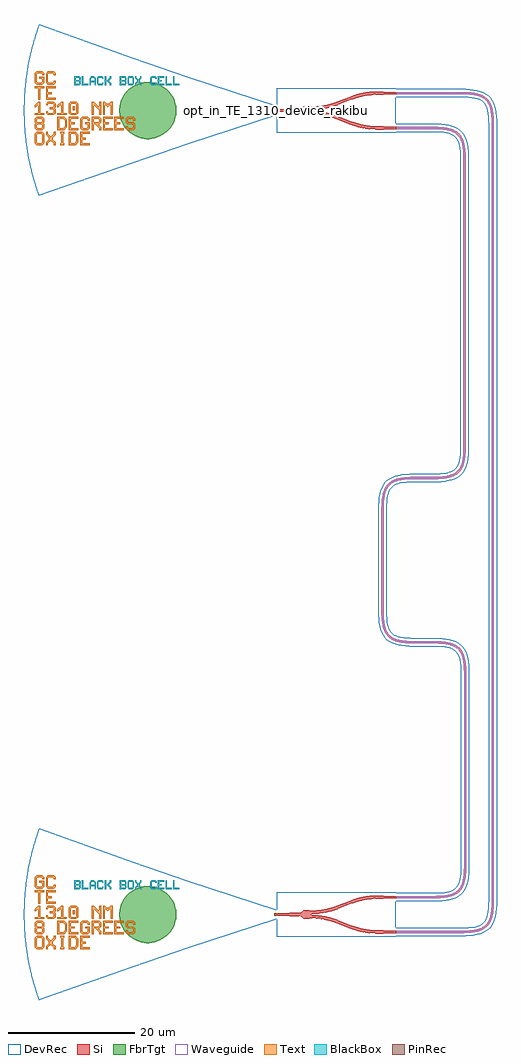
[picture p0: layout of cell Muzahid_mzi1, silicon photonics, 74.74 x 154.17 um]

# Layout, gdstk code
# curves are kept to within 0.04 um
import gdstk
lib = gdstk.Library(unit=1e-6, precision=1e-09)
def R(c, l, rs):  # rectangles x0, y0, x1, y1
    for r in rs: c.add(gdstk.rectangle(r[:2], r[2:], *l))
def P(c, l, *ps):  # polygons
    for p in ps: c.add(gdstk.Polygon(p, *l))
Si = (1, 0)
PinRec = (1, 10)
Waveguide = (1, 99)
Text = (10, 0)
DevRec = (68, 0)
FbrTgt = (81, 0)
BlackBox = (998, 0)

waveguide = lib.new_cell('Waveguide')
P(waveguide, Si, [(58.769,10.575),(58.769,10.925),(69.496,10.93),(70.634,10.997),(71.565,11.157),(72.076,11.32),(72.506,11.534),(72.863,11.799),(73.157,12.123),(73.448,12.626),(73.624,13.117),(73.838,14.358),(73.891,15.75),(73.891,138.25),(73.819,139.818),(73.693,140.608),(73.541,141.14),(73.341,141.59),(73.089,141.965),(72.78,142.274),(72.405,142.526),(71.955,142.726),(71.423,142.878),(70.458,143.022),(69.495,143.071),(58.769,143.075),(58.769,143.425),(69.287,143.424),(70.49,143.37),(71.499,143.22),(72.205,143.005),(72.901,142.623),(73.359,142.187),(73.709,141.64),(73.999,140.835),(74.147,140.032),(74.231,138.896),(74.241,15.75),(74.186,14.326),(74.068,13.473),(73.918,12.88),(73.71,12.361),(73.439,11.915),(73.099,11.539),(72.688,11.234),(72.206,10.996),(71.651,10.817),(70.672,10.649),(69.502,10.58)])
P(waveguide, Waveguide, [(58.769,10.575),(58.769,10.925),(69.496,10.93),(70.634,10.997),(71.565,11.157),(72.076,11.32),(72.506,11.534),(72.863,11.799),(73.157,12.123),(73.448,12.626),(73.624,13.117),(73.838,14.358),(73.891,15.75),(73.891,138.25),(73.819,139.818),(73.693,140.608),(73.541,141.14),(73.341,141.59),(73.089,141.965),(72.78,142.274),(72.405,142.526),(71.955,142.726),(71.423,142.878),(70.458,143.022),(69.495,143.071),(58.769,143.075),(58.769,143.425),(69.287,143.424),(70.49,143.37),(71.499,143.22),(72.205,143.005),(72.901,142.623),(73.359,142.187),(73.709,141.64),(73.999,140.835),(74.147,140.032),(74.231,138.896),(74.241,15.75),(74.186,14.326),(74.068,13.473),(73.918,12.88),(73.71,12.361),(73.439,11.915),(73.099,11.539),(72.688,11.234),(72.206,10.996),(71.651,10.817),(70.672,10.649),(69.502,10.58)])
P(waveguide, DevRec, [(58.769,10.075),(58.769,11.425),(69.718,11.436),(70.822,11.524),(71.665,11.705),(72.264,11.972),(72.491,12.136),(72.845,12.553),(73.112,13.152),(73.214,13.542),(73.349,14.514),(73.391,15.75),(73.391,138.25),(73.292,140.006),(73.111,140.849),(72.988,141.177),(72.68,141.675),(72.49,141.865),(71.992,142.173),(71.274,142.398),(70.302,142.533),(69.065,142.575),(58.769,142.575),(58.769,143.925),(69.067,143.925),(70.41,143.879),(71.56,143.718),(72.544,143.405),(73.366,142.891),(73.706,142.551),(73.99,142.162),(74.399,141.255),(74.63,140.192),(74.73,138.95),(74.741,15.75),(74.695,14.406),(74.534,13.256),(74.4,12.746),(73.991,11.839),(73.367,11.11),(72.978,10.826),(72.071,10.417),(71.008,10.186),(69.766,10.086)])
waveguide.add(gdstk.FlexPath([(58.779,143.25),(58.759,143.25)], 0.35, ends="flush", simple_path=True, layer=1, datatype=10))  # PinRec
waveguide.add(gdstk.FlexPath([(58.779,10.75),(58.759,10.75)], 0.35, ends="flush", simple_path=True, layer=1, datatype=10))  # PinRec
waveguide.add(gdstk.Label('opt1', (58.769,143.25), layer=1, texttype=10))
waveguide.add(gdstk.Label('opt2', (58.769,10.75), layer=1, texttype=10))
waveguide.add(gdstk.Label('Lumerical_INTERCONNECT_library=Design kits/EBeam', (58.769,143.18), layer=68, texttype=0))
waveguide.add(gdstk.Label('Component=ebeam_wg_integral_1310', (58.769,143.32), layer=68, texttype=0))
waveguide.add(gdstk.Label('cellName=Waveguide', (58.769,143.39), layer=68, texttype=0))
waveguide.add(gdstk.Label('Spice_param:wg_length=0.000160001 wg_width=3.5e-07 points="[[58.769,143.25],[74.066,143.25],[74.066,10.75],[58.769,10.75]]" radius=5e-06', (58.769,143.25), layer=68, texttype=0))
waveguide.add(gdstk.Label('Length=160.001 (microns)', (58.769,142.83), layer=68, texttype=0))
waveguide.add(gdstk.Label('waveguide_type=Strip TE 1310 nm, w=350 nm', (58.769,143.11), layer=68, texttype=0))

text = lib.new_cell('TEXT')
P(text, BlackBox, [(0,0),(0,1.4),(0.8,1.4),(1,1.2),(0.2,1.2),(0.2,0.8),(0.7,0.8),(0.8,0.9),(0.8,1.1),(0.7,1.2),(1,1.2),(1,0.8),(0.9,0.7),(1,0.6),(0.2,0.6),(0.2,0.2),(0.7,0.2),(0.8,0.3),(0.8,0.5),(0.7,0.6),(1,0.6),(1,0.2),(0.8,0)],
  [(1.2,0),(1.2,1.4),(1.4,1.4),(1.4,0.2),(2.2,0.2),(2.2,0)],
  [(2.4,0),(2.4,1.1),(2.7,1.4),(3.1,1.4),(3.3,1.2),(2.8,1.2),(2.6,1),(2.6,0.7),(3.2,0.7),(3.2,1),(3,1.2),(3.3,1.2),(3.4,1.1),(3.4,0),(3.2,0),(3.2,0.5),(2.6,0.5),(2.6,0)],
  [(3.8,0),(3.6,0.2),(3.6,1.2),(3.8,1.4),(4.4,1.4),(4.6,1.2),(4.6,1),(4.4,1),(4.4,1.1),(4.3,1.2),(3.9,1.2),(3.8,1.1),(3.8,0.3),(3.9,0.2),(4.3,0.2),(4.4,0.3),(4.4,0.4),(4.6,0.4),(4.6,0.2),(4.4,0)],
  [(4.8,0),(4.8,1.4),(5,1.4),(5,0.8),(5.2,0.8),(5.6,1.2),(5.6,1.4),(5.8,1.4),(5.8,1.1),(5.4,0.7),(5.8,0.3),(5.8,0),(5.6,0),(5.6,0.2),(5.2,0.6),(5,0.6),(5,0)],
  [(7.2,0),(7.2,1.4),(8,1.4),(8.2,1.2),(7.4,1.2),(7.4,0.8),(7.9,0.8),(8,0.9),(8,1.1),(7.9,1.2),(8.2,1.2),(8.2,0.8),(8.1,0.7),(8.2,0.6),(7.4,0.6),(7.4,0.2),(7.9,0.2),(8,0.3),(8,0.5),(7.9,0.6),(8.2,0.6),(8.2,0.2),(8,0)],
  [(8.6,0),(8.4,0.2),(8.4,1.2),(8.6,1.4),(9.2,1.4),(9.4,1.2),(9.4,0.7),(9.2,0.7),(9.2,1.1),(9.1,1.2),(8.7,1.2),(8.6,1.1),(8.6,0.3),(8.7,0.2),(9.1,0.2),(9.2,0.3),(9.2,0.7),(9.4,0.7),(9.4,0.2),(9.2,0)],
  [(9.6,0),(9.6,0.3),(9.9,0.6),(9.9,0.8),(9.6,1.1),(9.6,1.4),(9.8,1.4),(9.8,1.2),(10.1,0.9),(10.4,1.2),(10.4,1.4),(10.6,1.4),(10.6,1.1),(10.3,0.8),(10.3,0.6),(10.6,0.3),(10.6,0),(10.4,0),(10.4,0.2),(10.1,0.5),(9.8,0.2),(9.8,0)],
  [(12.2,0),(12,0.2),(12,1.2),(12.2,1.4),(12.8,1.4),(13,1.2),(13,1),(12.8,1),(12.8,1.1),(12.7,1.2),(12.3,1.2),(12.2,1.1),(12.2,0.3),(12.3,0.2),(12.7,0.2),(12.8,0.3),(12.8,0.4),(13,0.4),(13,0.2),(12.8,0)],
  [(13.2,0),(13.2,1.4),(14.2,1.4),(14.2,1.2),(13.4,1.2),(13.4,0.8),(13.8,0.8),(13.8,0.6),(13.4,0.6),(13.4,0.2),(14.2,0.2),(14.2,0)],
  [(14.4,0),(14.4,1.4),(14.6,1.4),(14.6,0.2),(15.4,0.2),(15.4,0)],
  [(15.6,0),(15.6,1.4),(15.8,1.4),(15.8,0.2),(16.6,0.2),(16.6,0)])

gc_te_1310_8degoxide_bb = lib.new_cell('GC_TE_1310_8degOxide_BB')
R(gc_te_1310_8degoxide_bb, Si, [(-0.4,-0.175,0,0.175)])
R(gc_te_1310_8degoxide_bb, Text, [(-32.27,0.06,-31.97,0.66)])
P(gc_te_1310_8degoxide_bb, Text, [(-37.67,1.71),(-37.67,3.51),(-38.27,3.51),(-38.27,3.81),(-36.77,3.81),(-36.77,3.51),(-37.37,3.51),(-37.37,1.71)],
  [(-37.97,-5.49),(-38.27,-5.19),(-38.27,-3.69),(-37.97,-3.39),(-37.07,-3.39),(-36.77,-3.69),(-36.77,-4.44),(-37.07,-4.44),(-37.07,-3.84),(-37.22,-3.69),(-37.82,-3.69),(-37.97,-3.84),(-37.97,-5.04),(-37.82,-5.19),(-37.22,-5.19),(-37.07,-5.04),(-37.07,-4.44),(-36.77,-4.44),(-36.77,-5.19),(-37.07,-5.49)],
  [(-31.07,-5.49),(-31.07,-3.39),(-29.57,-3.39),(-29.57,-3.69),(-30.77,-3.69),(-30.77,-4.29),(-30.17,-4.29),(-30.17,-4.59),(-30.77,-4.59),(-30.77,-5.19),(-29.57,-5.19),(-29.57,-5.49)],
  [(-32.87,-3.09),(-32.87,-0.99),(-31.37,-0.99),(-31.37,-1.29),(-32.57,-1.29),(-32.57,-1.89),(-31.97,-1.89),(-31.97,-2.19),(-32.57,-2.19),(-32.57,-2.79),(-31.37,-2.79),(-31.37,-3.09)],
  [(-27.47,-3.09),(-27.47,-0.99),(-25.97,-0.99),(-25.97,-1.29),(-27.17,-1.29),(-27.17,-1.89),(-26.57,-1.89),(-26.57,-2.19),(-27.17,-2.19),(-27.17,-2.79),(-25.97,-2.79),(-25.97,-3.09)],
  [(-25.67,-3.09),(-25.67,-0.99),(-24.17,-0.99),(-24.17,-1.29),(-25.37,-1.29),(-25.37,-1.89),(-24.77,-1.89),(-24.77,-2.19),(-25.37,-2.19),(-25.37,-2.79),(-24.17,-2.79),(-24.17,-3.09)],
  [(-36.47,1.71),(-36.47,3.81),(-34.97,3.81),(-34.97,3.51),(-36.17,3.51),(-36.17,2.91),(-35.57,2.91),(-35.57,2.61),(-36.17,2.61),(-36.17,2.01),(-34.97,2.01),(-34.97,1.71)],
  [(-27.47,-0.69),(-27.47,1.41),(-27.17,1.41),(-26.87,1.11),(-26.57,1.11),(-26.27,1.41),(-25.97,1.41),(-25.97,-0.69),(-26.27,-0.69),(-26.27,0.81),(-26.42,0.81),(-26.72,0.51),(-27.02,0.81),(-27.17,0.81),(-27.17,-0.69)],
  [(-29.27,-0.69),(-29.27,1.41),(-28.97,1.41),(-28.22,0.66),(-28.07,0.66),(-28.07,1.41),(-27.77,1.41),(-27.77,-0.69),(-28.07,-0.69),(-28.07,0.06),(-28.82,0.81),(-28.97,0.81),(-28.97,-0.69)],
  [(-34.22,-5.49),(-34.22,-5.19),(-34.07,-5.19),(-34.07,-3.69),(-34.22,-3.69),(-34.22,-3.39),(-33.62,-3.39),(-33.62,-3.69),(-33.77,-3.69),(-33.77,-5.19),(-33.62,-5.19),(-33.62,-5.49)],
  [(-36.17,-0.69),(-36.47,-0.39),(-36.47,-0.09),(-36.17,-0.09),(-36.17,-0.24),(-36.02,-0.39),(-35.42,-0.39),(-35.27,-0.24),(-35.27,0.06),(-35.42,0.21),(-35.87,0.21),(-35.87,0.51),(-35.42,0.51),(-35.27,0.66),(-35.27,0.96),(-35.42,1.11),(-36.02,1.11),(-36.17,0.96),(-36.17,0.81),(-36.47,0.81),(-36.47,1.11),(-36.17,1.41),(-35.27,1.41),(-34.97,1.11),(-34.97,0.51),(-35.12,0.36),(-34.97,0.21),(-34.97,-0.39),(-35.27,-0.69)],
  [(-29.27,-3.09),(-29.27,-0.99),(-28.07,-0.99),(-27.77,-1.29),(-28.97,-1.29),(-28.97,-1.89),(-28.22,-1.89),(-28.07,-1.74),(-28.07,-1.44),(-28.22,-1.29),(-27.77,-1.29),(-27.77,-1.89),(-28.07,-2.19),(-28.07,-2.34),(-27.77,-2.64),(-27.77,-3.09),(-28.07,-3.09),(-28.07,-2.79),(-28.67,-2.19),(-28.97,-2.19),(-28.97,-3.09)],
  [(-30.77,-3.09),(-31.07,-2.79),(-31.07,-1.29),(-30.77,-0.99),(-29.87,-0.99),(-29.57,-1.29),(-29.57,-1.59),(-29.87,-1.59),(-29.87,-1.44),(-30.02,-1.29),(-30.62,-1.29),(-30.77,-1.44),(-30.77,-2.64),(-30.62,-2.79),(-30.02,-2.79),(-29.87,-2.64),(-29.87,-2.19),(-30.32,-2.19),(-30.32,-1.89),(-29.57,-1.89),(-29.57,-2.79),(-29.87,-3.09)],
  [(-37.97,4.11),(-38.27,4.41),(-38.27,5.91),(-37.97,6.21),(-37.07,6.21),(-36.77,5.91),(-36.77,5.61),(-37.07,5.61),(-37.07,5.76),(-37.22,5.91),(-37.82,5.91),(-37.97,5.76),(-37.97,4.56),(-37.82,4.41),(-37.22,4.41),(-37.07,4.56),(-37.07,5.01),(-37.52,5.01),(-37.52,5.31),(-36.77,5.31),(-36.77,4.41),(-37.07,4.11)],
  [(-32.57,-0.69),(-32.87,-0.39),(-32.87,1.11),(-32.57,1.41),(-31.67,1.41),(-31.37,1.11),(-32.42,1.11),(-32.57,0.96),(-32.57,-0.24),(-32.42,-0.39),(-31.82,-0.39),(-31.67,-0.24),(-31.67,0.96),(-31.82,1.11),(-31.37,1.11),(-31.37,-0.39),(-31.67,-0.69)],
  [(-32.87,-5.49),(-32.87,-3.39),(-31.82,-3.39),(-31.52,-3.69),(-32.57,-3.69),(-32.57,-5.19),(-31.97,-5.19),(-31.67,-4.89),(-31.67,-3.99),(-31.97,-3.69),(-31.52,-3.69),(-31.37,-3.84),(-31.37,-5.04),(-31.82,-5.49)],
  [(-34.67,-3.09),(-34.67,-0.99),(-33.62,-0.99),(-33.32,-1.29),(-34.37,-1.29),(-34.37,-2.79),(-33.77,-2.79),(-33.47,-2.49),(-33.47,-1.59),(-33.77,-1.29),(-33.32,-1.29),(-33.17,-1.44),(-33.17,-2.64),(-33.62,-3.09)],
  [(-23.57,-3.09),(-23.87,-2.79),(-23.87,-2.49),(-23.57,-2.49),(-23.57,-2.64),(-23.42,-2.79),(-22.82,-2.79),(-22.67,-2.64),(-22.67,-2.34),(-22.82,-2.19),(-23.57,-2.19),(-23.87,-1.89),(-23.87,-1.29),(-23.57,-0.99),(-22.67,-0.99),(-22.37,-1.29),(-22.37,-1.59),(-22.67,-1.59),(-22.67,-1.44),(-22.82,-1.29),(-23.42,-1.29),(-23.57,-1.44),(-23.57,-1.74),(-23.42,-1.89),(-22.67,-1.89),(-22.37,-2.19),(-22.37,-2.79),(-22.67,-3.09)],
  [(-37.97,-3.09),(-38.27,-2.79),(-38.27,-2.19),(-38.12,-2.04),(-38.27,-1.89),(-38.27,-1.29),(-37.97,-0.99),(-37.07,-0.99),(-36.77,-1.29),(-37.82,-1.29),(-37.97,-1.44),(-37.97,-1.74),(-37.82,-1.89),(-37.22,-1.89),(-37.07,-1.74),(-37.07,-1.44),(-37.22,-1.29),(-36.77,-1.29),(-36.77,-1.89),(-36.92,-2.04),(-36.77,-2.19),(-37.82,-2.19),(-37.97,-2.34),(-37.97,-2.64),(-37.82,-2.79),(-37.22,-2.79),(-37.07,-2.64),(-37.07,-2.34),(-37.22,-2.19),(-36.77,-2.19),(-36.77,-2.79),(-37.07,-3.09)],
  [(-38.27,-0.69),(-38.27,-0.39),(-37.67,-0.39),(-37.67,0.81),(-37.82,0.81),(-38.12,0.51),(-38.27,0.51),(-38.27,0.81),(-37.67,1.41),(-37.37,1.41),(-37.37,-0.39),(-36.77,-0.39),(-36.77,-0.69)],
  [(-34.67,-0.69),(-34.67,-0.39),(-34.07,-0.39),(-34.07,0.81),(-34.22,0.81),(-34.52,0.51),(-34.67,0.51),(-34.67,0.81),(-34.07,1.41),(-33.77,1.41),(-33.77,-0.39),(-33.17,-0.39),(-33.17,-0.69)],
  [(-36.47,-5.49),(-36.47,-5.04),(-36.02,-4.59),(-36.02,-4.29),(-36.47,-3.84),(-36.47,-3.39),(-36.17,-3.39),(-36.17,-3.69),(-35.72,-4.14),(-35.27,-3.69),(-35.27,-3.39),(-34.97,-3.39),(-34.97,-3.84),(-35.42,-4.29),(-35.42,-4.59),(-34.97,-5.04),(-34.97,-5.49),(-35.27,-5.49),(-35.27,-5.19),(-35.72,-4.74),(-36.17,-5.19),(-36.17,-5.49)],
  [(-36.17,4.11),(-36.47,4.41),(-36.47,5.91),(-36.17,6.21),(-35.27,6.21),(-34.97,5.91),(-34.97,5.61),(-35.27,5.61),(-35.27,5.76),(-35.42,5.91),(-36.02,5.91),(-36.17,5.76),(-36.17,4.56),(-36.02,4.41),(-35.42,4.41),(-35.27,4.56),(-35.27,4.71),(-34.97,4.71),(-34.97,4.41),(-35.27,4.11)])
P(gc_te_1310_8degoxide_bb, DevRec, [(-37.607,-13.5),(-38.627,-10.245),(-39.378,-6.832),(-39.647,-5.058),(-39.835,-3.274),(-39.969,0.224),(-39.812,3.541),(-39.331,7.097),(-38.557,10.505),(-37.546,13.669),(-22.8,8.353),(-14.109,5.36),(0,0.75),(0,-0.75),(-14.109,-5.36)])
P(gc_te_1310_8degoxide_bb, FbrTgt, [(-20.621,-4.5),(-21.495,-4.37),(-22.326,-4.073),(-23.084,-3.619),(-23.738,-3.026),(-24.264,-2.316),(-24.642,-1.518),(-24.857,-0.661),(-24.9,0.221),(-24.77,1.095),(-24.473,1.926),(-24.019,2.684),(-23.426,3.338),(-22.716,3.864),(-21.918,4.242),(-21.061,4.457),(-20.179,4.5),(-19.305,4.37),(-18.474,4.073),(-17.716,3.619),(-17.062,3.026),(-16.536,2.316),(-16.158,1.518),(-15.943,0.661),(-15.9,-0.221),(-16.03,-1.095),(-16.327,-1.926),(-16.781,-2.684),(-17.374,-3.338),(-18.084,-3.864),(-18.882,-4.242),(-19.739,-4.457)])
gc_te_1310_8degoxide_bb.add(gdstk.FlexPath([(-0.01,0),(0.01,0)], 0.35, ends="flush", simple_path=True, layer=1, datatype=10))  # PinRec
gc_te_1310_8degoxide_bb.add(gdstk.Reference(text, (-32,4)))
gc_te_1310_8degoxide_bb.add(gdstk.Label('opt1', (0,0), layer=1, texttype=10))
gc_te_1310_8degoxide_bb.add(gdstk.Label('Lumerical_INTERCONNECT_library=Design kits/ebeam', (-29,-7), layer=68, texttype=0))
gc_te_1310_8degoxide_bb.add(gdstk.Label('Component=GC_TE_1310_8degOxide_BB', (-28,-5), layer=68, texttype=0))

ebeam_y_1310 = lib.new_cell('ebeam_y_1310')
R(ebeam_y_1310, Si, [(6.5,-3,7.4,-2.5), (-7.4,-0.25,-6,0.25), (6.5,2.5,7.4,3)])
P(ebeam_y_1310, Si, [(6.458,-3),(6.237,-2.997),(6.237,-2.497),(6.5,-2.5),(6.5,-3)],
  [(5.033,-2.908),(3.59,-2.634),(2.265,-2.21),(2.445,-1.744),(3.731,-2.154),(5.033,-2.404)],
  [(6.233,-2.997),(5.033,-2.908),(5.033,-2.404),(6.237,-2.497)],
  [(2.265,-2.21),(0.055,-1.356),(0.235,-0.89),(2.445,-1.744)],
  [(-0.762,-1.076),(-2.334,-0.724),(-4,-0.6),(-4,-0.1),(-2.381,-0.212),(-0.762,-0.555)],
  [(0.055,-1.356),(-0.762,-1.076),(-0.762,-0.555),(0.235,-0.89)],
  [(6.237,2.497),(6.237,2.997),(6.5,3),(6.5,2.5)],
  [(2.445,1.744),(2.267,2.211),(3.59,2.634),(5.033,2.908),(5.033,2.404),(3.731,2.154)],
  [(5.033,2.404),(5.033,2.908),(6.237,2.997),(6.237,2.497)],
  [(0.235,0.89),(0.055,1.356),(2.265,2.21),(2.445,1.744)],
  [(-4,0.1),(-4,0.6),(-2.334,0.724),(-0.762,1.076),(-0.762,0.555),(-2.381,0.212)],
  [(-0.762,0.555),(-0.762,1.076),(0.055,1.356),(0.235,0.89)],
  [(-5.122,-0.662),(-5.442,-0.374),(-5.808,-0.255),(-6,-0.25),(-6,0.25),(-5.817,0.253),(-5.442,0.374),(-5.122,0.662)],
  [(-4.957,-0.703),(-5.122,-0.662),(-5.122,0.662),(-4.538,0.703),(-4,0.6),(-4,-0.6),(-4.509,-0.701)],
  [(-7.4,-0.25),(-9.4,-0.175),(-9.4,0.175),(-7.4,0.25)],
  [(7.4,2.5),(7.4,3),(9.4,2.925),(9.4,2.575)],
  [(7.4,-3),(7.4,-2.5),(9.4,-2.575),(9.4,-2.925)])
R(ebeam_y_1310, DevRec, [(-9.4,-3.5,9.4,3.5)])
ebeam_y_1310.add(gdstk.FlexPath([(9.35,2.75),(9.45,2.75)], 0.35, ends="flush", simple_path=True, layer=1, datatype=10))  # PinRec
ebeam_y_1310.add(gdstk.FlexPath([(9.35,-2.75),(9.45,-2.75)], 0.35, ends="flush", simple_path=True, layer=1, datatype=10))  # PinRec
ebeam_y_1310.add(gdstk.FlexPath([(-9.35,0),(-9.45,0)], 0.35, ends="flush", simple_path=True, layer=1, datatype=10))  # PinRec
ebeam_y_1310.add(gdstk.Label('Ref: Y Zhang, Opt. Express, 21/1, 2013, for 1550 nm\nWorks reasonably well at 1310 nm', (-9.25,-1), layer=10, texttype=0))
ebeam_y_1310.add(gdstk.Label('opt2', (9.4,2.75), layer=1, texttype=10))
ebeam_y_1310.add(gdstk.Label('opt3', (9.4,-2.75), layer=1, texttype=10))
ebeam_y_1310.add(gdstk.Label('opt1', (-9.4,0), layer=1, texttype=10))
ebeam_y_1310.add(gdstk.Label('Lumerical_INTERCONNECT_library=Design kits/ebeam', (-6.86,-2.19), layer=68, texttype=0))
ebeam_y_1310.add(gdstk.Label('Component=ebeam_y_1310', (-9,1.5), layer=68, texttype=0))

waveguide_2 = lib.new_cell('Waveguide$2')
P(waveguide_2, Si, [(58.769,16.075),(58.769,16.425),(65.532,16.443),(66.757,16.564),(67.709,16.82),(68.414,17.227),(68.723,17.536),(68.975,17.911),(69.175,18.361),(69.327,18.893),(69.497,20.225),(69.524,51.5),(69.452,53.068),(69.216,54.265),(68.855,55.035),(68.413,55.524),(67.823,55.882),(67.056,56.128),(66.266,56.254),(65.332,56.316),(60.411,56.365),(59.215,56.531),(58.259,56.857),(57.813,57.128),(57.437,57.468),(57.132,57.879),(56.947,58.234),(56.755,58.771),(56.618,59.383),(56.483,60.855),(56.484,78.096),(56.648,79.728),(56.798,80.321),(57.006,80.84),(57.356,81.387),(57.814,81.823),(58.383,82.152),(59.216,82.42),(60.044,82.552),(61.004,82.616),(65.82,82.665),(66.82,82.793),(67.618,83.02),(68.323,83.427),(68.765,83.916),(69.126,84.686),(69.342,85.713),(69.433,87.45),(69.433,132.75),(69.393,133.962),(69.265,134.962),(68.989,135.875),(68.559,136.547),(67.947,137.026),(67.106,137.344),(66.345,137.484),(65.241,137.566),(58.769,137.575),(58.769,137.925),(65.653,137.898),(66.56,137.808),(67.478,137.602),(68.115,137.332),(68.64,136.962),(69.124,136.372),(69.413,135.758),(69.609,135.028),(69.743,133.988),(69.783,132.75),(69.783,87.45),(69.69,85.669),(69.46,84.58),(69.055,83.72),(68.545,83.157),(68.23,82.934),(67.748,82.696),(66.886,82.449),(65.846,82.315),(61.016,82.266),(59.592,82.137),(58.76,81.926),(58.21,81.667),(57.773,81.326),(57.374,80.79),(57.174,80.34),(56.992,79.662),(56.834,78.084),(56.833,60.867),(56.962,59.443),(57.218,58.491),(57.625,57.786),(57.934,57.477),(58.309,57.225),(59.15,56.907),(60.256,56.729),(61.431,56.677),(65.547,56.658),(66.48,56.582),(67.283,56.434),(68.088,56.144),(68.731,55.712),(69.215,55.122),(69.55,54.371),(69.8,53.106),(69.874,51.5),(69.847,20.205),(69.669,18.817),(69.505,18.243),(69.281,17.743),(68.993,17.314),(68.636,16.957),(68.207,16.669),(67.707,16.445),(66.652,16.193),(65.548,16.093)])
P(waveguide_2, Waveguide, [(58.769,16.075),(58.769,16.425),(65.532,16.443),(66.757,16.564),(67.709,16.82),(68.414,17.227),(68.723,17.536),(68.975,17.911),(69.175,18.361),(69.327,18.893),(69.497,20.225),(69.524,51.5),(69.452,53.068),(69.216,54.265),(68.855,55.035),(68.413,55.524),(67.823,55.882),(67.056,56.128),(66.266,56.254),(65.332,56.316),(60.411,56.365),(59.215,56.531),(58.259,56.857),(57.813,57.128),(57.437,57.468),(57.132,57.879),(56.947,58.234),(56.755,58.771),(56.618,59.383),(56.483,60.855),(56.484,78.096),(56.648,79.728),(56.798,80.321),(57.006,80.84),(57.356,81.387),(57.814,81.823),(58.383,82.152),(59.216,82.42),(60.044,82.552),(61.004,82.616),(65.82,82.665),(66.82,82.793),(67.618,83.02),(68.323,83.427),(68.765,83.916),(69.126,84.686),(69.342,85.713),(69.433,87.45),(69.433,132.75),(69.393,133.962),(69.265,134.962),(68.989,135.875),(68.559,136.547),(67.947,137.026),(67.106,137.344),(66.345,137.484),(65.241,137.566),(58.769,137.575),(58.769,137.925),(65.653,137.898),(66.56,137.808),(67.478,137.602),(68.115,137.332),(68.64,136.962),(69.124,136.372),(69.413,135.758),(69.609,135.028),(69.743,133.988),(69.783,132.75),(69.783,87.45),(69.69,85.669),(69.46,84.58),(69.055,83.72),(68.545,83.157),(68.23,82.934),(67.748,82.696),(66.886,82.449),(65.846,82.315),(61.016,82.266),(59.592,82.137),(58.76,81.926),(58.21,81.667),(57.773,81.326),(57.374,80.79),(57.174,80.34),(56.992,79.662),(56.834,78.084),(56.833,60.867),(56.962,59.443),(57.218,58.491),(57.625,57.786),(57.934,57.477),(58.309,57.225),(59.15,56.907),(60.256,56.729),(61.431,56.677),(65.547,56.658),(66.48,56.582),(67.283,56.434),(68.088,56.144),(68.731,55.712),(69.215,55.122),(69.55,54.371),(69.8,53.106),(69.874,51.5),(69.847,20.205),(69.669,18.817),(69.505,18.243),(69.281,17.743),(68.993,17.314),(68.636,16.957),(68.207,16.669),(67.707,16.445),(66.652,16.193),(65.548,16.093)])
P(waveguide_2, DevRec, [(58.769,15.575),(58.769,16.925),(65.351,16.936),(66.455,17.024),(67.626,17.328),(68.124,17.636),(68.314,17.826),(68.622,18.324),(68.847,19.042),(68.982,20.014),(69.024,21.25),(69.024,51.5),(68.981,52.737),(68.744,54.099),(68.477,54.698),(68.123,55.115),(67.625,55.423),(66.907,55.648),(65.351,55.815),(60.304,55.872),(59.154,56.033),(58.17,56.346),(57.348,56.86),(57.008,57.2),(56.494,58.022),(56.181,59.006),(55.984,60.802),(55.985,78.15),(56.182,79.945),(56.495,80.929),(57.009,81.751),(57.349,82.091),(58.171,82.605),(59.155,82.918),(60.951,83.115),(65.845,83.168),(66.817,83.303),(67.535,83.528),(68.033,83.836),(68.387,84.253),(68.654,84.852),(68.835,85.695),(68.933,87.45),(68.933,132.75),(68.89,133.987),(68.755,134.959),(68.53,135.677),(68.222,136.175),(68.032,136.365),(67.534,136.673),(66.816,136.898),(65.26,137.065),(58.769,137.075),(58.769,138.425),(65.952,138.379),(67.102,138.218),(67.612,138.084),(68.519,137.675),(68.908,137.391),(69.248,137.051),(69.762,136.229),(70.075,135.245),(70.236,134.095),(70.283,132.75),(70.283,87.45),(70.173,85.509),(69.942,84.446),(69.533,83.539),(68.909,82.81),(68.087,82.296),(67.103,81.983),(65.953,81.822),(60.997,81.765),(59.441,81.598),(59.051,81.496),(58.452,81.229),(58.035,80.875),(57.727,80.377),(57.423,79.206),(57.335,78.102),(57.334,60.848),(57.422,59.745),(57.726,58.574),(58.034,58.076),(58.224,57.886),(58.722,57.578),(59.44,57.353),(60.412,57.218),(65.397,57.165),(66.64,57.065),(67.703,56.834),(68.61,56.425),(68.999,56.141),(69.623,55.412),(70.032,54.505),(70.263,53.442),(70.374,51.5),(70.374,21.25),(70.328,19.906),(70.167,18.756),(70.033,18.246),(69.624,17.339),(69,16.61),(68.611,16.326),(67.704,15.917),(66.641,15.686),(65.399,15.586)])
waveguide_2.add(gdstk.FlexPath([(58.779,137.75),(58.759,137.75)], 0.35, ends="flush", simple_path=True, layer=1, datatype=10))  # PinRec
waveguide_2.add(gdstk.FlexPath([(58.779,16.25),(58.759,16.25)], 0.35, ends="flush", simple_path=True, layer=1, datatype=10))  # PinRec
waveguide_2.add(gdstk.Label('opt1', (58.769,137.75), layer=1, texttype=10))
waveguide_2.add(gdstk.Label('opt2', (58.769,16.25), layer=1, texttype=10))
waveguide_2.add(gdstk.Label('Lumerical_INTERCONNECT_library=Design kits/EBeam', (58.769,137.68), layer=68, texttype=0))
waveguide_2.add(gdstk.Label('Component=ebeam_wg_integral_1310', (58.769,137.82), layer=68, texttype=0))
waveguide_2.add(gdstk.Label('cellName=Waveguide', (58.769,137.89), layer=68, texttype=0))
waveguide_2.add(gdstk.Label('Spice_param:wg_length=0.000160000 wg_width=3.5e-07 points="[[58.769,137.75],[69.608,137.75],[69.608,82.45],[56.649,82.45],[56.649,56.5],[69.699,56.5],[69.699,16.25],[58.769,16.25]]" radius=5e-06', (58.769,137.75), layer=68, texttype=0))
waveguide_2.add(gdstk.Label('Length=160.000 (microns)', (58.769,137.33), layer=68, texttype=0))
waveguide_2.add(gdstk.Label('waveguide_type=Strip TE 1310 nm, w=350 nm', (58.769,137.61), layer=68, texttype=0))

muzahid_mzi1 = lib.new_cell('Muzahid_mzi1')
muzahid_mzi1.add(gdstk.Reference(waveguide, (0,0)))
muzahid_mzi1.add(gdstk.Reference(gc_te_1310_8degoxide_bb, (39.969,13.5)))
muzahid_mzi1.add(gdstk.Reference(ebeam_y_1310, (49.369,13.5)))
muzahid_mzi1.add(gdstk.Reference(ebeam_y_1310, (49.369,140.5)))
muzahid_mzi1.add(gdstk.Reference(gc_te_1310_8degoxide_bb, (39.969,140.5)))
muzahid_mzi1.add(gdstk.Reference(waveguide_2, (0,0)))
muzahid_mzi1.add(gdstk.Label('opt_in_TE_1310_device_rakibul_mzi1Muzahid', (39.969,140.5), layer=10, texttype=0))

lib.write_gds('Muzahid_mzi1.gds')
